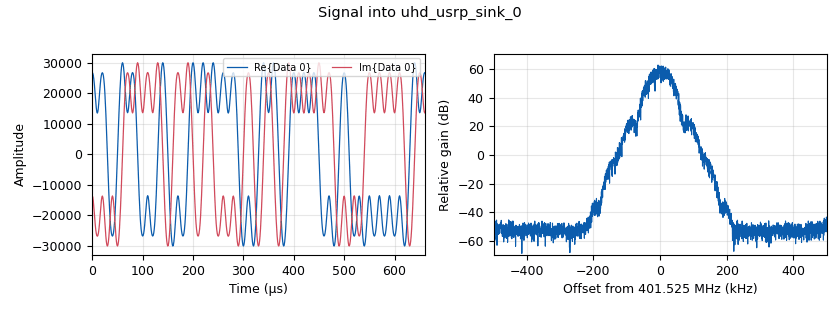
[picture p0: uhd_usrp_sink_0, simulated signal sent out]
options:
  parameters:
    generate_options: qt_gui
    id: pvburstgmsksc16loopbackex
    output_language: python
    title: Per Vices Burst GMSK Loopback example
  states: {}

blocks:
- name: GMSK_samp_per_symb
  id: variable
  parameters:
    value: '10'
  states: {}
- name: GMSK_symb_per_byte
  id: variable
  parameters:
    value: '8'
  states: {}
- name: freq
  id: variable
  parameters:
    value: '401525000'
  states: {}
- name: max_payload_byte
  id: variable
  parameters:
    value: pl_max
  states: {}
- name: min_payload_byte
  id: variable
  parameters:
    value: pl_min
  states: {}
- name: pl_max
  id: variable
  parameters:
    value: '50'
  states: {}
- name: pl_max
  id: variable_qtgui_range
  parameters:
    label: Payload Max
    rangeType: int
    start: pl_min
    step: '1'
    stop: '1000'
    value: '500'
  states: {state: disabled}
- name: pl_min
  id: variable_qtgui_range
  parameters:
    label: Payload Min
    rangeType: int
    start: '0'
    step: '1'
    stop: '1000'
    value: '50'
  states: {state: disabled}
- name: pl_min
  id: variable
  parameters:
    value: '50'
  states: {}
- name: rx_rec_t
  id: variable
  parameters:
    value: '1.5'
  states: {}
- name: rx_sob_t
  id: variable
  parameters:
    value: '2'
  states: {}
- name: samp_rate
  id: variable
  parameters:
    value: '1000000'
  states: {}
- name: strobe_per
  id: variable_qtgui_range
  parameters:
    label: Strobe Period (ms)
    rangeType: int
    start: '0'
    step: '1'
    stop: '1000'
    value: '50'
  states: {state: disabled}
- name: strobe_per
  id: variable
  parameters:
    value: '120'
  states: {}
- name: strobe_period_ms
  id: variable
  parameters:
    value: strobe_per
  states: {}
- name: tx_sob_t
  id: variable
  parameters:
    value: '2'
  states: {}
- name: blocks_complex_to_interleaved_short_0
  id: blocks_complex_to_interleaved_short
  parameters:
    scale_factor: '30000'
    vector_output: 'True'
  states: {}
- name: blocks_interleaved_short_to_complex_0
  id: blocks_interleaved_short_to_complex
  parameters:
    scale_factor: '1'
    vector_input: 'True'
  states: {}
- name: blocks_message_strobe_0
  id: blocks_message_strobe
  parameters:
    msg: pmt.intern("TEST")
    period: strobe_period_ms
  states: {}
- name: blocks_multiply_const_vxx_0
  id: blocks_multiply_const_vxx
  parameters:
    const: '30000'
    type: complex
  states: {state: disabled}
- name: blocks_tagged_stream_multiply_length_0
  id: blocks_tagged_stream_multiply_length
  parameters:
    c: GMSK_symb_per_byte*GMSK_samp_per_symb
    lengthtagname: packet_len
    type: complex
  states: {}
- name: digital_gmsk_mod_0
  id: digital_gmsk_mod
  parameters:
    bt: '0.35'
    samples_per_symbol: GMSK_samp_per_symb
  states: {}
- name: import_0
  id: import
  parameters:
    imports: import math,cmath
  states: {}
- name: pdu_pdu_to_tagged_stream_1
  id: pdu_pdu_to_tagged_stream
  parameters:
    tag: packet_len
    type: byte
  states: {}
- name: pdu_random_pdu_0
  id: pdu_random_pdu
  parameters:
    length_modulo: '1'
    mask: '0xFF'
    maxsize: max_payload_byte
    minsize: min_payload_byte
  states: {}
- name: qtgui_sink_x_0
  id: qtgui_sink_x
  parameters:
    bw: samp_rate
    fc: freq
    fftsize: '1024'
    name: '"Data Out"'
    rate: '100'
    type: complex
  states: {state: disabled}
- name: qtgui_time_sink_x_0
  id: qtgui_time_sink_x
  parameters:
    grid: 'True'
    size: int(math.floor(samp_rate*rx_rec_t))
    srate: samp_rate
    tr_mode: qtgui.TRIG_MODE_NORM
    type: complex
    update_time: rx_rec_t
    ymax: '35000'
    ymin: '-35000'
  states: {}
- name: uhd_usrp_sink_0
  id: uhd_usrp_sink
  parameters:
    ant0: '"TX/RX"'
    bw0: '200000'
    center_freq0: freq
    dev_addr: ''
    dev_args: '"crimson"'
    gain0: '31'
    len_tag_name: packet_len
    otw: sc16
    samp_rate: samp_rate
    show_lo_controls: 'True'
    start_time: tx_sob_t
    stream_args: sc16
    stream_chans: '[0]'
    sync: sync
    type: sc16
  states: {}
- name: uhd_usrp_source_0_1_0
  id: uhd_usrp_source
  parameters:
    ant0: '"RX1"'
    bw0: samp_rate
    center_freq0: freq
    dev_addr: ''
    dev_args: '"crimson"'
    gain0: '50'
    otw: sc16
    rx_agc0: Disabled
    samp_rate: samp_rate
    start_time: rx_sob_t
    stream_chans: '[0]'
    sync: sync
    type: sc16
  states: {}

connections:
- [blocks_complex_to_interleaved_short_0, '0', uhd_usrp_sink_0, '0']
- [blocks_interleaved_short_to_complex_0, '0', qtgui_time_sink_x_0, '0']
- [blocks_message_strobe_0, strobe, pdu_random_pdu_0, generate]
- [blocks_multiply_const_vxx_0, '0', qtgui_sink_x_0, '0']
- [blocks_tagged_stream_multiply_length_0, '0', blocks_complex_to_interleaved_short_0, '0']
- [blocks_tagged_stream_multiply_length_0, '0', blocks_multiply_const_vxx_0, '0']
- [digital_gmsk_mod_0, '0', blocks_tagged_stream_multiply_length_0, '0']
- [pdu_pdu_to_tagged_stream_1, '0', digital_gmsk_mod_0, '0']
- [pdu_random_pdu_0, pdus, pdu_pdu_to_tagged_stream_1, pdus]
- [uhd_usrp_source_0_1_0, '0', blocks_interleaved_short_to_complex_0, '0']

metadata:
  file_format: 1
  grc_version: 3.10.8.0
